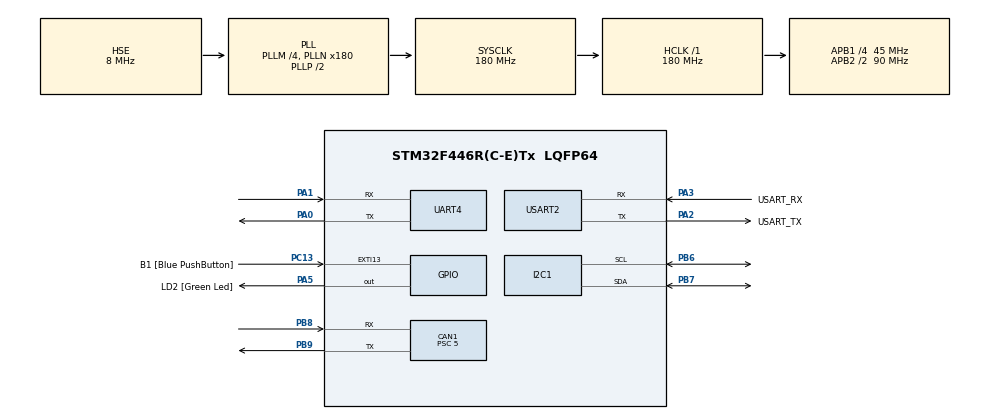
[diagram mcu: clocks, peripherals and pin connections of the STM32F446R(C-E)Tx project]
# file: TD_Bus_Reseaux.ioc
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CAN1.BS1=CAN_BS1_15TQ
CAN1.BS2=CAN_BS2_2TQ
CAN1.CalculateBaudRate=500000
CAN1.CalculateTimeBit=2000
CAN1.CalculateTimeQuantum=111.11111111111111
CAN1.Prescaler=5
Mcu.Family=STM32F4
Mcu.Name=STM32F446R(C-E)Tx
Mcu.Package=LQFP64
NVIC.PriorityGroup=NVIC_PRIORITYGROUP_0
NVIC.TIM2_IRQn=true\:0\:0\:false\:false\:true\:true\:true\:true
NVIC.UART4_IRQn=true\:0\:0\:false\:false\:true\:true\:true\:true
PA0-WKUP.Mode=Asynchronous
PA0-WKUP.Signal=UART4_TX
PA1.Mode=Asynchronous
PA1.Signal=UART4_RX
PA14.GPIO_Label=TCK
PA14.Signal=SYS_JTCK-SWCLK
PA2.GPIO_Label=USART_TX
PA2.Mode=Asynchronous
PA2.Signal=USART2_TX
PA3.GPIO_Label=USART_RX
PA3.Mode=Asynchronous
PA3.Signal=USART2_RX
PA5.GPIO_Label=LD2 [Green Led]
PA5.Signal=GPIO_Output
PB3.GPIO_Label=SWO
PB3.Signal=SYS_JTDO-SWO
PB6.Mode=I2C
PB6.Signal=I2C1_SCL
PB7.Mode=I2C
PB7.Signal=I2C1_SDA
PB8.Mode=CAN_Activate
PB8.Signal=CAN1_RX
PB9.Mode=CAN_Activate
PB9.Signal=CAN1_TX
PC13.GPIO_Label=B1 [Blue PushButton]
PC13.GPIO_ModeDefaultEXTI=GPIO_MODE_IT_FALLING
PC13.Signal=GPXTI13
PC14-OSC32_IN.Mode=LSE-External-Oscillator
PC14-OSC32_IN.Signal=RCC_OSC32_IN
PC15-OSC32_OUT.Mode=LSE-External-Oscillator
PC15-OSC32_OUT.Signal=RCC_OSC32_OUT
PH0-OSC_IN.Mode=HSE-External-Oscillator
PH0-OSC_IN.Signal=RCC_OSC_IN
PH1-OSC_OUT.Mode=HSE-External-Oscillator
PH1-OSC_OUT.Signal=RCC_OSC_OUT
ProjectManager.HeapSize=0x200
ProjectManager.StackSize=0x400
ProjectManager.TargetToolchain=STM32CubeIDE
RCC.48MHZClocksFreq_Value=84000000
RCC.AHBFreq_Value=180000000
RCC.APB1CLKDivider=RCC_HCLK_DIV4
RCC.APB1Freq_Value=45000000
RCC.APB1TimFreq_Value=90000000
RCC.APB2CLKDivider=RCC_HCLK_DIV2
RCC.APB2Freq_Value=90000000
RCC.APB2TimFreq_Value=180000000
RCC.CortexFreq_Value=180000000
RCC.FLatency-AdvancedSettings=FLASH_LATENCY_5
RCC.HCLKFreq_Value=180000000
RCC.HSE_VALUE=8000000
RCC.HSI_VALUE=16000000
RCC.PLLM=4
RCC.PLLN=180
RCC.PLLSourceVirtual=RCC_PLLSOURCE_HSE
RCC.SYSCLKFreq_VALUE=180000000
RCC.SYSCLKSource=RCC_SYSCLKSOURCE_PLLCLK
RCC.USBFreq_Value=180000000
RCC.VCOOutputFreq_Value=360000000
TIM2.AutoReloadPreload=TIM_AUTORELOAD_PRELOAD_ENABLE
TIM2.Period=1000000-1
TIM2.Prescaler=180-1
UART4.VirtualMode=Asynchronous
USART2.VirtualMode=VM_ASYNC
VP_TIM2_VS_ClockSourceINT.Mode=Internal
board=NUCLEO-F446RE

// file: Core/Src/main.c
/* USER CODE BEGIN Header */
/**
 ******************************************************************************
 * @file           : main.c
 * @brief          : Main program body
 ******************************************************************************
 * @attention
 *
 * Copyright (c) 2024 STMicroelectronics.
 * All rights reserved.
 *
 * This software is licensed under terms that can be found in the LICENSE file
 * in the root directory of this software component.
 * If no LICENSE file comes with this software, it is provided AS-IS.
 *
 ******************************************************************************
 */
/* USER CODE END Header */
#include "main.h"

/* USER CODE BEGIN Includes */
#include <stdio.h>
/* USER CODE END Includes */

/* USER CODE BEGIN PTD */

typedef struct BMP280_CalibDataNames{ // structure containing calibration registers names (datasheet p.21)
	uint16_t dig_T1;  //0x88/0x89
	int16_t dig_T2;   //0x8A/0x8B
	int16_t dig_T3;
	uint16_t dig_P1;
	int16_t dig_P2;
	int16_t dig_P3;
	int16_t dig_P4;
	int16_t dig_P5;
	int16_t dig_P6;
	int16_t dig_P7;
	int16_t dig_P8;  //0x9C/0x9D
	int16_t dig_P9;  //0x9E/0x9F
} BMP280_CalibDataNames;

typedef int32_t BMP280_S32_t;
typedef uint32_t BMP280_U32_t;
typedef int64_t BMP280_S64_t;

/* USER CODE END PTD */

/* USER CODE BEGIN PD */
#define BMP_ADDR 0x77<<1 // BMP280 address
#define BMP_ID_REG 0xD0 // adress of the ID register

#define BMP_ADDR_MODE 0xF4 // address of the "ctrl_meas" reg to set the modes/config
#define BMP_MODE 0b01010111 // 010 oversampling t x2  101 oversampling p x16	11 mode normal

#define BMP_CALIB_REG 0x88    // 1st calibration register address
#define BMP_CALIB_DATA_LENGTH 24 // size in bytes of calibration data

#define BMP_TEMP_PRESS_REG 0xF7 // 1st press register address
#define BMP_TEMP_PRESS_DATA_LENGTH 3 // size of press + temp registers

#define SIZE_OF_USART4_BUF 7
/* USER CODE END PD */

CAN_HandleTypeDef hcan1;

I2C_HandleTypeDef hi2c1;

TIM_HandleTypeDef htim2;

UART_HandleTypeDef huart4;
UART_HandleTypeDef huart2;

/* USER CODE BEGIN PV */
uint8_t data;
uint8_t UART4_rxBuffer[SIZE_OF_USART4_BUF];

// Variables initialization, buffers
//I2C
uint8_t id_buf[1];
uint8_t data_config[2];
uint8_t calib_reg[1];
uint8_t calib_data[BMP_CALIB_DATA_LENGTH];
BMP280_CalibDataNames *calib_names;
uint8_t temp_reg = 0xFA;
uint8_t press_reg = 0xF7;
//int32_t raw_temp;
//int32_t raw_press;
int32_t t_fine;

// Variables CAN
CAN_TxHeaderTypeDef   TxHeader;
uint8_t               TxData[3];
uint32_t              TxMailbox;
/* USER CODE END PV */

void SystemClock_Config(void);
static void MX_GPIO_Init(void);
static void MX_USART2_UART_Init(void);
static void MX_CAN1_Init(void);
static void MX_UART4_Init(void);
static void MX_TIM2_Init(void);
static void MX_I2C1_Init(void);
/* USER CODE BEGIN PFP */

void User_UartCompleteCallback(UART_HandleTypeDef *huart);

void read_calibration_data();

void read_raw_t_p(int32_t *raw_press, int32_t *raw_temp);

void query_ID_BMP();

void query_Config_BMP();

void query_Calib_BMP();

void conf_CAN();

void get_BMP_meas();

void rotate_motor_90d();
/* USER CODE END PFP */

/* USER CODE BEGIN 0 */
void query_ID_BMP(){
	//question réponse capteur avec I2C pour ID capteur
	id_buf[0]= BMP_ID_REG;
	HAL_I2C_Master_Transmit(&hi2c1,BMP_ADDR,id_buf,1,HAL_MAX_DELAY);
	HAL_I2C_Master_Receive(&hi2c1,BMP_ADDR,id_buf,1,HAL_MAX_DELAY);
	printf("BMP280 ID : %x\r\n",id_buf[0]);
}

void query_Config_BMP(){
	//Configuration et vérification du capteur
	data_config[0]= BMP_ADDR_MODE;
	data_config[1]= BMP_MODE;
	printf("Register : %x\r\n",data_config[0]);
	HAL_I2C_Master_Transmit(&hi2c1,BMP_ADDR,data_config,2,HAL_MAX_DELAY);
	HAL_I2C_Master_Receive(&hi2c1,BMP_ADDR,data_config,2,HAL_MAX_DELAY);
	printf("Mode : %x\r\n",data_config[0]);
}

void query_Calib_BMP(){
	// Retrieving of calibration Data
	calib_reg[0] = BMP_CALIB_REG;
	HAL_I2C_Master_Transmit(&hi2c1, BMP_ADDR, calib_reg, 1, HAL_MAX_DELAY);
	if (HAL_I2C_Master_Receive(&hi2c1, BMP_ADDR, calib_data, BMP_CALIB_DATA_LENGTH, HAL_MAX_DELAY)== HAL_OK){
		calib_names->dig_T1 = (uint16_t)((calib_data[1] << 8) | calib_data[0]);
		calib_names->dig_T2 = (int16_t)((calib_data[3] << 8) | calib_data[2]);
		calib_names->dig_T3 = (int16_t)((calib_data[5] << 8) | calib_data[4]);
		calib_names->dig_P1 = (uint16_t)((calib_data[7] << 8) | calib_data[6]);
		calib_names->dig_P2 = (int16_t)((calib_data[9] << 8) | calib_data[8]);
		calib_names->dig_P3 = (int16_t)((calib_data[11] << 8) | calib_data[10]);
		calib_names->dig_P4 = (int16_t)((calib_data[13] << 8) | calib_data[12]);
		calib_names->dig_P5 = (int16_t)((calib_data[15] << 8) | calib_data[14]);
		calib_names->dig_P6 = (int16_t)((calib_data[17] << 8) | calib_data[16]);
		calib_names->dig_P7 = (int16_t)((calib_data[19] << 8) | calib_data[18]);
		calib_names->dig_P8 = (int16_t)((calib_data[21] << 8) | calib_data[20]);
		calib_names->dig_P9 = (int16_t)((calib_data[23] << 8) | calib_data[22]);

		printf("Calibration Data:\r\n");
		printf("dig_T1: %u\r\n", calib_names->dig_T1);
		printf("dig_T2: %d\r\n", calib_names->dig_T2);
		printf("dig_T3: %d\r\n", calib_names->dig_T3);
		printf("dig_P1: %u\r\n", calib_names->dig_P1);
		printf("dig_P2: %d\r\n", calib_names->dig_P2);
		printf("dig_P3: %d\r\n", calib_names->dig_P3);
		printf("dig_P4: %d\r\n", calib_names->dig_P4);
		printf("dig_P5: %d\r\n", calib_names->dig_P5);
		printf("dig_P6: %d\r\n", calib_names->dig_P6);
		printf("dig_P7: %d\r\n", calib_names->dig_P7);
		printf("dig_P8: %d\r\n", calib_names->dig_P8);
		printf("dig_P9: %d\r\n", calib_names->dig_P9);
	}
	else{
		printf("Erreur de calibration\r\n");
	}

}
/*
void read_raw_t_p(int32_t *raw_press, int32_t *raw_temp){
	uint8_t raw_data[BMP_TEMP_PRESS_DATA_LENGTH];
	uint8_t reg = BMP_TEMP_PRESS_REG;

	if (HAL_I2C_Master_Transmit(&hi2c1, BMP_ADDR, &reg, 1, HAL_MAX_DELAY)==HAL_OK){
		HAL_I2C_Master_Receive(&hi2c1, BMP_ADDR, raw_data, BMP_TEMP_PRESS_DATA_LENGTH, HAL_MAX_DELAY);
		*raw_press = (int32_t)(((raw_data[0] << 16) | (raw_data[1] << 8) | raw_data[2]) >> 4);
		*raw_temp = (int32_t)(((raw_data[3] << 16) | (raw_data[4] << 8) | raw_data[5]) >> 4);
	}
	else{
		printf("Erreur de communication sur le bus bus I2C\r\n");
	}
}

*/

int bmp280_get_raw_temp(void){
	uint8_t raw_data[BMP_TEMP_PRESS_DATA_LENGTH];
	if(HAL_I2C_Master_Transmit(&hi2c1,BMP_ADDR, &temp_reg, 1, HAL_MAX_DELAY) != HAL_OK){
		printf("Erreur de communication sur le bus bus I2C (temp)\r\n");
	}

	else{
		HAL_I2C_Master_Receive(&hi2c1, BMP_ADDR, raw_data, 3, HAL_MAX_DELAY);
	}
	int raw_temp = raw_data[0]<<12|raw_data[1]<<4|raw_data[2]>>4;
	return raw_temp;
}

int bmp280_get_raw_press(void){
	uint8_t raw_data[BMP_TEMP_PRESS_DATA_LENGTH];
	if(HAL_I2C_Master_Transmit(&hi2c1,BMP_ADDR, &press_reg, 1, HAL_MAX_DELAY) != HAL_OK){
		printf("Erreur de communication sur le bus bus I2C (press)\r\n");
	}
	else{
		HAL_I2C_Master_Receive(&hi2c1, BMP_ADDR, raw_data, 3, HAL_MAX_DELAY);
	}
	int raw_pres = raw_data[0]<<12|raw_data[1]<<4|raw_data[2]>>4;
	return raw_pres;
}

// Returns temperature in DegC, resolution is 0.01 DegC. Output value of “5123�? equals 51.23 DegC.
// t_fine carries fine temperature as global value

BMP280_S32_t bmp280_compensate_T_int32(BMP280_S32_t adc_T,BMP280_CalibDataNames *calib_names, int32_t *t_fine)
{
	BMP280_S32_t var1, var2, T;
	var1 = ((((adc_T>>3)-((BMP280_S32_t)calib_names->dig_T1<<1))) * ((BMP280_S32_t)calib_names->dig_T2)) >> 11;
	var2 = (((((adc_T>>4)-((BMP280_S32_t)calib_names->dig_T1)) * ((adc_T>>4)-((BMP280_S32_t)calib_names->dig_T1))) >> 12) * ((BMP280_S32_t)calib_names->dig_T3)) >> 14;
	*t_fine = var1 + var2;
	T = (*t_fine * 5 + 128) >> 8;
	return T;
}

// Returns pressure in Pa as unsigned 32 bit integer. Output value of “96386�? equals 96386 Pa = 963.86 hPa
BMP280_U32_t bmp280_compensate_P_int64(BMP280_S32_t adc_P, BMP280_CalibDataNames *calib_names, int32_t t_fine)
{
	BMP280_S64_t var1, var2, p;
	var1 = ((BMP280_S64_t)t_fine)-128000;
	var2 = var1 * var1 * (BMP280_S64_t)calib_names->dig_P6;
	var2 = var2 + ((var1*(BMP280_S64_t)calib_names->dig_P5)<<17);
	var2 = var2 + (((BMP280_S64_t)calib_names->dig_P4)<<35);
	var1 = ((var1 * var1 * (BMP280_S64_t)calib_names->dig_P3)>>8) + ((var1 * (BMP280_S64_t)calib_names->dig_P2)<<12);
	var1 = (((((BMP280_S64_t)1)<<47)+var1))*((BMP280_S64_t)calib_names->dig_P1)>>33;
	if (var1 == 0)
	{
		return 0; // avoid exception caused by division by zero
	}
	p = 1048576-adc_P;
	p = (((p<<31)-var2)*3125)/var1;
	var1 = (((BMP280_S64_t)calib_names->dig_P9) * (p>>13) * (p>>13)) >> 25;
	var2 = (((BMP280_S64_t)calib_names->dig_P8) * p) >> 19;
	p = ((p + var1 + var2) >> 8) + (((BMP280_S64_t)calib_names->dig_P7)<<4);
	return (BMP280_U32_t)p;
}

void get_BMP_meas(){
	//Retrieving the raw temp and press values
	int32_t raw_temp = bmp280_get_raw_temp();
	int32_t raw_press = bmp280_get_raw_press();

	// Compensated temperature and pressure
	int32_t temp = bmp280_compensate_T_int32(raw_temp, calib_names, &t_fine);
	int32_t press = bmp280_compensate_P_int64(raw_press, calib_names, t_fine);
	printf("Compensated Temp = %ld C\r\nCompensated Press = %ld Pa\r\n", temp/100, press/256);
}

void HAL_UART_RxCpltCallback(UART_HandleTypeDef *huart)
{
	HAL_UART_Receive_IT (&huart4, (uint8_t*)UART4_rxBuffer, SIZE_OF_USART4_BUF);
	printf("%s\r\n",UART4_rxBuffer);
}

void conf_CAN(){
	// Motor pilot : +90 degree
	TxHeader.IDE = CAN_ID_STD;
	TxHeader.StdId = 0x61;
	TxHeader.RTR = CAN_RTR_DATA;
	TxHeader.DLC = 2;
	TxHeader.TransmitGlobalTime = DISABLE;

	TxData[0] = 90; 	//angle
	TxData[1] = 0x00;	//positive
	//TxData[2] = 0xA0;	//speed

	HAL_CAN_Start(&hcan1);
}

void rotate_motor_90d(){
	if(HAL_CAN_AddTxMessage(&hcan1, &TxHeader, TxData, &TxMailbox)!= HAL_OK){
		printf("Erreur de communication sur le bus CAN\r\n");
	}
	else{
		printf("Commnication CAN etablie\r\n");
	}

	if(TxData[1]==1){
		TxData[1] = 0;
	}
	else{
		TxData[1]=1;
	}
	HAL_Delay(1000);
}
/* USER CODE END 0 */

int main(void)
{

	/* MCU Configuration--------------------------------------------------------*/

	/* Reset of all peripherals, Initializes the Flash interface and the Systick. */
	HAL_Init();

	/* Configure the system clock */
	SystemClock_Config();

	/* Initialize all configured peripherals */
	MX_GPIO_Init();
	MX_USART2_UART_Init();
	MX_CAN1_Init();
	MX_UART4_Init();
	MX_TIM2_Init();
	MX_I2C1_Init();
	/* USER CODE BEGIN 2 */
	HAL_UART_RegisterCallback(&huart4, HAL_UART_RX_COMPLETE_CB_ID, User_UartCompleteCallback);
	HAL_TIM_Base_Start_IT(&htim2);
	conf_CAN();
	/* USER CODE END 2 */

	/* Infinite loop */
	/* USER CODE BEGIN WHILE */
	printf("==== TP BUS & NETWORK ====\r\n");

	// get id, calib, and config data
	query_ID_BMP();
	query_Config_BMP();
	query_Calib_BMP();

	HAL_UART_Receive_IT (&huart4, (uint8_t *) UART4_rxBuffer, SIZE_OF_USART4_BUF); //usart rasp pi

	while (1)
	{
		/* USER CODE END WHILE */
		get_BMP_meas();
		rotate_motor_90d();
	}
}

void SystemClock_Config(void)
{
	RCC_OscInitTypeDef RCC_OscInitStruct = {0};
	RCC_ClkInitTypeDef RCC_ClkInitStruct = {0};

	/** Configure the main internal regulator output voltage
	 */
	__HAL_RCC_PWR_CLK_ENABLE();
	__HAL_PWR_VOLTAGESCALING_CONFIG(PWR_REGULATOR_VOLTAGE_SCALE1);

	/** Initializes the RCC Oscillators according to the specified parameters
	 * in the RCC_OscInitTypeDef structure.
	 */
	RCC_OscInitStruct.OscillatorType = RCC_OSCILLATORTYPE_HSE;
	RCC_OscInitStruct.HSEState = RCC_HSE_ON;
	RCC_OscInitStruct.PLL.PLLState = RCC_PLL_ON;
	RCC_OscInitStruct.PLL.PLLSource = RCC_PLLSOURCE_HSE;
	RCC_OscInitStruct.PLL.PLLM = 4;
	RCC_OscInitStruct.PLL.PLLN = 180;
	RCC_OscInitStruct.PLL.PLLP = RCC_PLLP_DIV2;
	RCC_OscInitStruct.PLL.PLLQ = 2;
	RCC_OscInitStruct.PLL.PLLR = 2;
	if (HAL_RCC_OscConfig(&RCC_OscInitStruct) != HAL_OK)
	{
		Error_Handler();
	}

	/** Activate the Over-Drive mode
	 */
	if (HAL_PWREx_EnableOverDrive() != HAL_OK)
	{
		Error_Handler();
	}

	/** Initializes the CPU, AHB and APB buses clocks
	 */
	RCC_ClkInitStruct.ClockType = RCC_CLOCKTYPE_HCLK|RCC_CLOCKTYPE_SYSCLK
			|RCC_CLOCKTYPE_PCLK1|RCC_CLOCKTYPE_PCLK2;
	RCC_ClkInitStruct.SYSCLKSource = RCC_SYSCLKSOURCE_PLLCLK;
	RCC_ClkInitStruct.AHBCLKDivider = RCC_SYSCLK_DIV1;
	RCC_ClkInitStruct.APB1CLKDivider = RCC_HCLK_DIV4;
	RCC_ClkInitStruct.APB2CLKDivider = RCC_HCLK_DIV2;

	if (HAL_RCC_ClockConfig(&RCC_ClkInitStruct, FLASH_LATENCY_5) != HAL_OK)
	{
		Error_Handler();
	}
}

static void MX_CAN1_Init(void)
{

	hcan1.Instance = CAN1;
	hcan1.Init.Prescaler = 5;
	hcan1.Init.Mode = CAN_MODE_NORMAL;
	hcan1.Init.SyncJumpWidth = CAN_SJW_1TQ;
	hcan1.Init.TimeSeg1 = CAN_BS1_15TQ;
	hcan1.Init.TimeSeg2 = CAN_BS2_2TQ;
	hcan1.Init.TimeTriggeredMode = DISABLE;
	hcan1.Init.AutoBusOff = DISABLE;
	hcan1.Init.AutoWakeUp = DISABLE;
	hcan1.Init.AutoRetransmission = DISABLE;
	hcan1.Init.ReceiveFifoLocked = DISABLE;
	hcan1.Init.TransmitFifoPriority = DISABLE;
	if (HAL_CAN_Init(&hcan1) != HAL_OK)
	{
		Error_Handler();
	}

}

static void MX_I2C1_Init(void)
{

	hi2c1.Instance = I2C1;
	hi2c1.Init.ClockSpeed = 100000;
	hi2c1.Init.DutyCycle = I2C_DUTYCYCLE_2;
	hi2c1.Init.OwnAddress1 = 0;
	hi2c1.Init.AddressingMode = I2C_ADDRESSINGMODE_7BIT;
	hi2c1.Init.DualAddressMode = I2C_DUALADDRESS_DISABLE;
	hi2c1.Init.OwnAddress2 = 0;
	hi2c1.Init.GeneralCallMode = I2C_GENERALCALL_DISABLE;
	hi2c1.Init.NoStretchMode = I2C_NOSTRETCH_DISABLE;
	if (HAL_I2C_Init(&hi2c1) != HAL_OK)
	{
		Error_Handler();
	}

}

static void MX_TIM2_Init(void)
{

	TIM_ClockConfigTypeDef sClockSourceConfig = {0};
	TIM_MasterConfigTypeDef sMasterConfig = {0};

	htim2.Instance = TIM2;
	htim2.Init.Prescaler = 180-1;
	htim2.Init.CounterMode = TIM_COUNTERMODE_UP;
	htim2.Init.Period = 1000000-1;
	htim2.Init.ClockDivision = TIM_CLOCKDIVISION_DIV1;
	htim2.Init.AutoReloadPreload = TIM_AUTORELOAD_PRELOAD_ENABLE;
	if (HAL_TIM_Base_Init(&htim2) != HAL_OK)
	{
		Error_Handler();
	}
	sClockSourceConfig.ClockSource = TIM_CLOCKSOURCE_INTERNAL;
	if (HAL_TIM_ConfigClockSource(&htim2, &sClockSourceConfig) != HAL_OK)
	{
		Error_Handler();
	}
	sMasterConfig.MasterOutputTrigger = TIM_TRGO_RESET;
	sMasterConfig.MasterSlaveMode = TIM_MASTERSLAVEMODE_DISABLE;
	if (HAL_TIMEx_MasterConfigSynchronization(&htim2, &sMasterConfig) != HAL_OK)
	{
		Error_Handler();
	}

}

static void MX_UART4_Init(void)
{

	huart4.Instance = UART4;
	huart4.Init.BaudRate = 115200;
	huart4.Init.WordLength = UART_WORDLENGTH_8B;
	huart4.Init.StopBits = UART_STOPBITS_1;
	huart4.Init.Parity = UART_PARITY_NONE;
	huart4.Init.Mode = UART_MODE_TX_RX;
	huart4.Init.HwFlowCtl = UART_HWCONTROL_NONE;
	huart4.Init.OverSampling = UART_OVERSAMPLING_16;
	if (HAL_UART_Init(&huart4) != HAL_OK)
	{
		Error_Handler();
	}

}

static void MX_USART2_UART_Init(void)
{

	huart2.Instance = USART2;
	huart2.Init.BaudRate = 115200;
	huart2.Init.WordLength = UART_WORDLENGTH_8B;
	huart2.Init.StopBits = UART_STOPBITS_1;
	huart2.Init.Parity = UART_PARITY_NONE;
	huart2.Init.Mode = UART_MODE_TX_RX;
	huart2.Init.HwFlowCtl = UART_HWCONTROL_NONE;
	huart2.Init.OverSampling = UART_OVERSAMPLING_16;
	if (HAL_UART_Init(&huart2) != HAL_OK)
	{
		Error_Handler();
	}

}

static void MX_GPIO_Init(void)
{
	GPIO_InitTypeDef GPIO_InitStruct = {0};

	/* GPIO Ports Clock Enable */
	__HAL_RCC_GPIOC_CLK_ENABLE();
	__HAL_RCC_GPIOH_CLK_ENABLE();
	__HAL_RCC_GPIOA_CLK_ENABLE();
	__HAL_RCC_GPIOB_CLK_ENABLE();

	/*Configure GPIO pin Output Level */
	HAL_GPIO_WritePin(LD2_GPIO_Port, LD2_Pin, GPIO_PIN_RESET);

	/*Configure GPIO pin : B1_Pin */
	GPIO_InitStruct.Pin = B1_Pin;
	GPIO_InitStruct.Mode = GPIO_MODE_IT_FALLING;
	GPIO_InitStruct.Pull = GPIO_NOPULL;
	HAL_GPIO_Init(B1_GPIO_Port, &GPIO_InitStruct);

	/*Configure GPIO pin : LD2_Pin */
	GPIO_InitStruct.Pin = LD2_Pin;
	GPIO_InitStruct.Mode = GPIO_MODE_OUTPUT_PP;
	GPIO_InitStruct.Pull = GPIO_NOPULL;
	GPIO_InitStruct.Speed = GPIO_SPEED_FREQ_LOW;
	HAL_GPIO_Init(LD2_GPIO_Port, &GPIO_InitStruct);

}

/* USER CODE BEGIN 4 */
void User_UartCompleteCallback(UART_HandleTypeDef *huart)
{
	printf("j'ai reçu des datas\r\n");
}

/* USER CODE END 4 */

void Error_Handler(void)
{
	__disable_irq();
	while (1)
	{
	}
}
